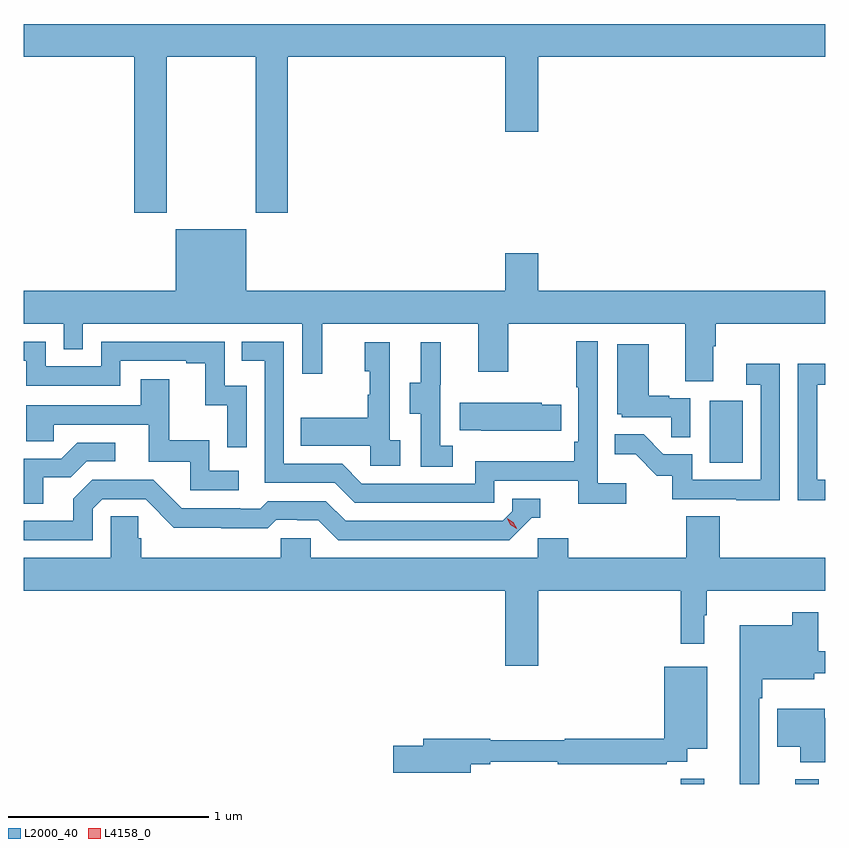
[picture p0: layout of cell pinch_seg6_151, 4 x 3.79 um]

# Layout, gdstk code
import gdstk
lib = gdstk.Library(unit=1e-6, precision=1e-09)
def R(c, l, rs):  # rectangles x0, y0, x1, y1
    for r in rs: c.add(gdstk.rectangle(r[:2], r[2:], *l))
def P(c, l, *ps):  # polygons
    for p in ps: c.add(gdstk.Polygon(p, *l))
L2000_40 = (2000, 40)
L4158_0 = (4158, 0)

pinch_seg6_151 = lib.new_cell('pinch_seg6_151')
R(pinch_seg6_151, L2000_40, [(969.079,915.736,969.197,915.761), (969.65,915.736,969.767,915.76), (969.224,917.34,969.388,917.647)])
P(pinch_seg6_151, L2000_40, [(966.513,919.364),(966.958,919.364),(966.958,918.585),(967.118,918.585),(967.118,919.364),(968.204,919.364),(968.204,918.99),(968.368,918.99),(968.368,919.364),(969.8,919.364),(969.8,919.528),(965.8,919.528),(965.8,919.364),(966.353,919.364),(966.353,918.585),(966.513,918.585)],
  [(969.241,917.92),(969.254,917.92),(969.254,918.032),(969.8,918.032),(969.8,918.196),(968.368,918.196),(968.368,918.385),(968.204,918.385),(968.204,918.196),(966.91,918.196),(966.91,918.505),(966.56,918.505),(966.56,918.196),(965.8,918.196),(965.8,918.032),(966,918.032),(966,917.905),(966.096,917.905),(966.096,918.032),(967.191,918.032),(967.191,917.784),(967.289,917.784),(967.289,918.032),(968.069,918.032),(968.069,917.793),(968.217,917.793),(968.217,918.032),(969.101,918.032),(969.101,917.746),(969.241,917.746)],
  [(968.806,917.236),(968.664,917.236),(968.664,917.944),(968.556,917.944),(968.556,917.716),(968.568,917.716),(968.568,917.443),(968.548,917.443),(968.548,917.347),(968.052,917.347),(968.052,917.235),(967.488,917.235),(967.389,917.334),(967.098,917.334),(967.098,917.943),(966.889,917.943),(966.889,917.847),(967.002,917.847),(967.002,917.238),(967.352,917.238),(967.451,917.139),(968.148,917.139),(968.148,917.25),(968.567,917.25),(968.567,917.134),(968.806,917.134)],
  [(966.912,917.724),(966.804,917.724),(966.804,917.943),(966.186,917.943),(966.186,917.82),(965.91,917.82),(965.91,917.943),(965.8,917.943),(965.8,917.847),(965.814,917.847),(965.814,917.724),(966.282,917.724),(966.282,917.847),(966.611,917.847),(966.611,917.835),(966.707,917.835),(966.707,917.627),(966.816,917.627),(966.816,917.415),(966.912,917.415)],
  [(967.942,917.423),(967.878,917.423),(967.878,917.727),(967.88,917.727),(967.88,917.941),(967.781,917.941),(967.781,917.739),(967.727,917.739),(967.727,917.584),(967.782,917.584),(967.782,917.32),(967.942,917.32)],
  [(967.678,917.45),(967.626,917.45),(967.626,917.941),(967.502,917.941),(967.502,917.796),(967.528,917.796),(967.528,917.678),(967.518,917.678),(967.518,917.563),(967.183,917.563),(967.183,917.423),(967.53,917.423),(967.53,917.325),(967.678,917.325)],
  [(969.126,917.661),(969.02,917.661),(969.02,917.674),(968.92,917.674),(968.92,917.929),(968.762,917.929),(968.762,917.58),(968.784,917.58),(968.784,917.565),(969.031,917.565),(969.031,917.467),(969.126,917.467)],
  [(969.573,917.833),(969.405,917.833),(969.405,917.727),(969.477,917.727),(969.477,917.253),(969.135,917.253),(969.135,917.382),(968.991,917.382),(968.893,917.48),(968.749,917.48),(968.749,917.381),(968.853,917.381),(968.96,917.274),(969.037,917.274),(969.037,917.157),(969.355,917.157),(969.355,917.152),(969.573,917.152)],
  [(969.8,917.253),(969.759,917.253),(969.759,917.727),(969.8,917.727),(969.8,917.833),(969.663,917.833),(969.663,917.152),(969.8,917.152)],
  [(966.874,917.298),(966.726,917.298),(966.726,917.452),(966.527,917.452),(966.527,917.755),(966.383,917.755),(966.383,917.625),(965.814,917.625),(965.814,917.445),(965.951,917.445),(965.951,917.529),(966.425,917.529),(966.425,917.343),(966.63,917.343),(966.63,917.202),(966.874,917.202)],
  [(968.483,917.628),(968.385,917.628),(968.385,917.638),(967.975,917.638),(967.975,917.501),(968.083,917.501),(968.083,917.498),(968.483,917.498)],
  [(965.899,917.266),(966.034,917.266),(966.114,917.346),(966.256,917.346),(966.256,917.439),(966.068,917.439),(965.987,917.358),(965.8,917.358),(965.8,917.134),(965.899,917.134)],
  [(966.144,917.109),(966.192,917.157),(966.408,917.157),(966.55,917.015),(966.786,917.015),(966.786,917.013),(967.019,917.013),(967.061,917.055),(967.164,917.055),(967.164,917.052),(967.271,917.052),(967.37,916.953),(968.223,916.953),(968.334,917.064),(968.377,917.064),(968.377,917.16),(968.238,917.16),(968.238,917.097),(968.19,917.049),(967.407,917.049),(967.308,917.148),(967.019,917.148),(966.98,917.109),(966.881,917.109),(966.881,917.112),(966.588,917.112),(966.447,917.253),(966.141,917.253),(966.047,917.159),(966.047,917.049),(965.8,917.049),(965.8,916.953),(966.144,916.953)],
  [(968.368,916.7),(969.079,916.7),(969.079,916.437),(969.196,916.437),(969.196,916.577),(969.208,916.577),(969.208,916.7),(969.8,916.7),(969.8,916.864),(969.272,916.864),(969.272,917.072),(969.107,917.072),(969.107,916.864),(968.516,916.864),(968.516,916.962),(968.364,916.962),(968.364,916.864),(967.233,916.864),(967.233,916.962),(967.083,916.962),(967.083,916.864),(966.386,916.864),(966.386,916.962),(966.371,916.962),(966.371,917.072),(966.234,917.072),(966.234,916.864),(965.8,916.864),(965.8,916.7),(968.204,916.7),(968.204,916.326),(968.368,916.326)],
  [(969.471,916.163),(969.484,916.163),(969.484,916.259),(969.745,916.259),(969.745,916.289),(969.8,916.289),(969.8,916.399),(969.764,916.399),(969.764,916.594),(969.636,916.594),(969.636,916.528),(969.374,916.528),(969.374,915.736),(969.471,915.736)],
  [(968.032,915.834),(968.128,915.834),(968.128,915.846),(968.464,915.846),(968.464,915.834),(969.008,915.834),(969.008,915.846),(969.112,915.846),(969.112,915.911),(969.211,915.911),(969.211,916.321),(968.996,916.321),(968.996,915.962),(968.5,915.962),(968.5,915.955),(968.128,915.955),(968.128,915.962),(967.793,915.962),(967.793,915.926),(967.644,915.926),(967.644,915.791),(968.032,915.791)],
  [(969.8,916.063),(969.796,916.063),(969.796,916.111),(969.56,916.111),(969.56,915.923),(969.674,915.923),(969.674,915.845),(969.8,915.845)])
P(pinch_seg6_151, L4158_0, [(968.26,917.01),(968.229,917.029),(968.213,917.061),(968.213,917.062),(968.213,917.062),(968.244,917.043),(968.261,917.011),(968.261,917.01)])

lib.write_gds('pinch_seg6_151.gds')
